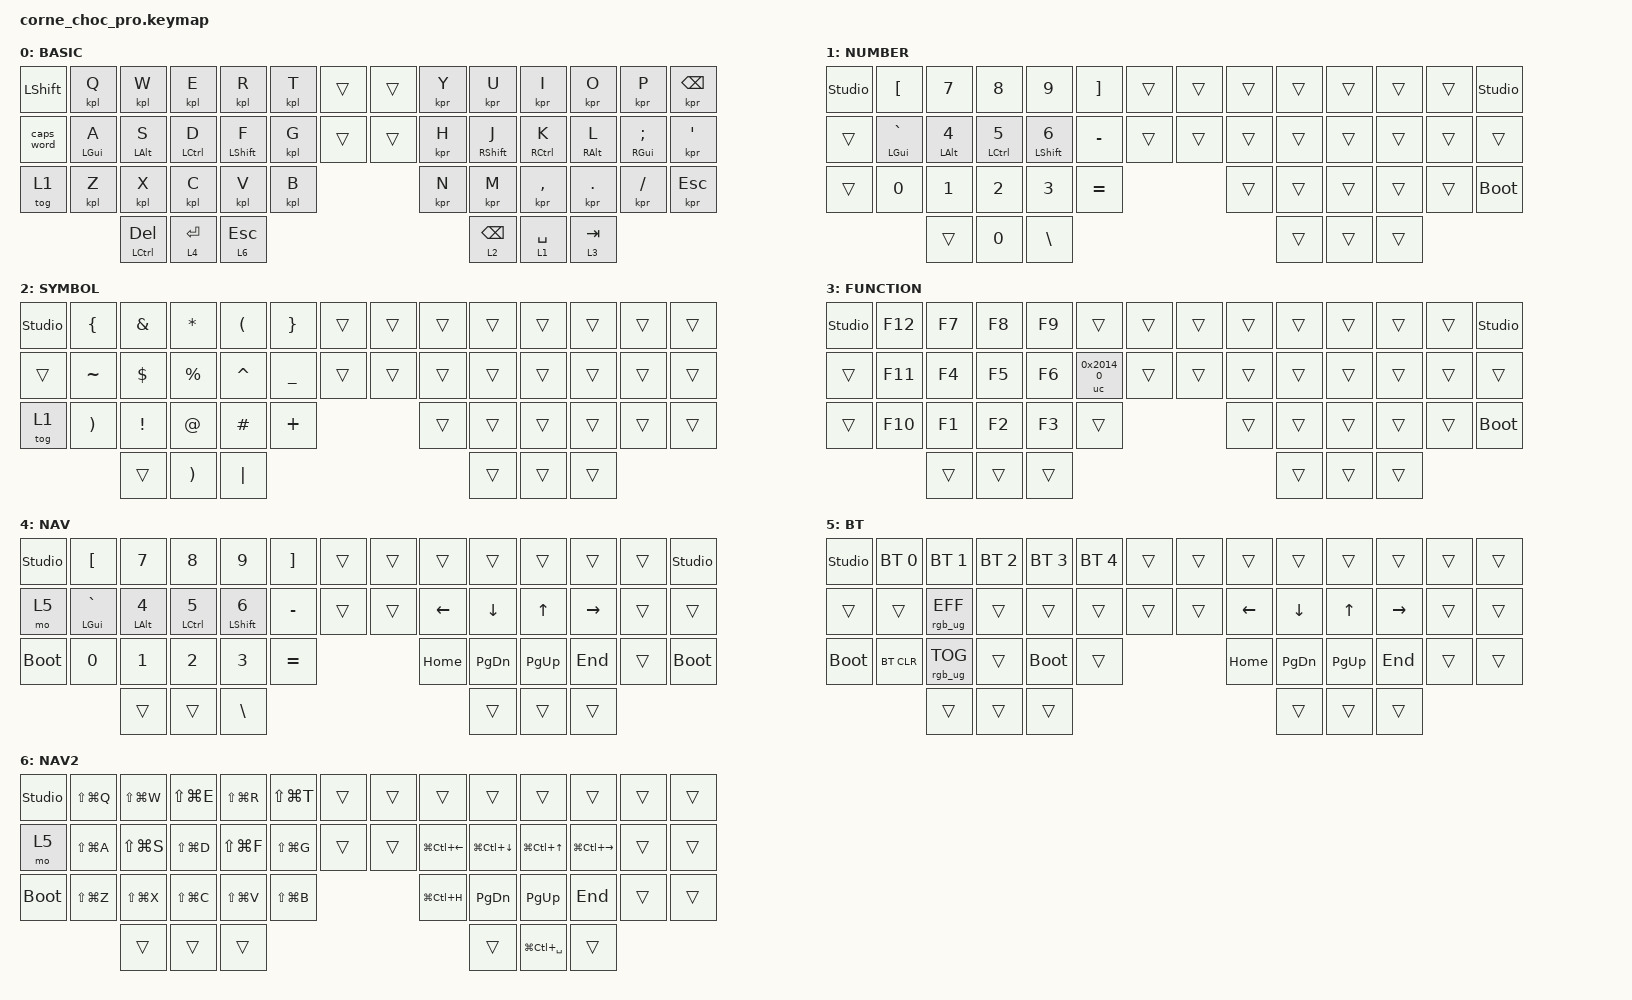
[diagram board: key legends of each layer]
/*
 * Copyright (c) 2020 The ZMK Contributors
 *
 * SPDX-License-Identifier: MIT
 */

#include <behaviors.dtsi>
#include <dt-bindings/zmk/keys.h>
#include <dt-bindings/zmk/bt.h>
#include <dt-bindings/zmk/rgb.h>
#include <dt-bindings/zmk/behaviors.h>
#include <behaviors/unicode.dtsi>

&uc {
  default-mode = <UC_MODE_WIN_COMPOSE>;  // Replace with desired input system.
};

/ {
    chosen {
        zmk,physical-layout = &default_layout;
    };
};


/ {
        behaviors {
            hml: home_row_mod_left_shift {
                compatible = "zmk,behavior-hold-tap";
                #binding-cells = <2>;
                flavor = "hold-preferred";
                tapping-term-ms = <200>;
                quick-tap-ms = <150>;
                bindings = <&kp>, <&kp>;
                hold-trigger-key-positions = <7 8 9 10 11 12 13 21 22 23 24 25 26 27 35 34 36 37 38 39 41 40 42 43 44 45>; // List of keys on the right side of the keyboard
                hold-trigger-on-release;
            };
            hrl: home_row_mod_left {
                compatible = "zmk,behavior-hold-tap";
                #binding-cells = <2>;
                flavor = "balanced";
                tapping-term-ms = <150>;
                quick-tap-ms = <150>;
                bindings = <&kp>, <&kp>;
                hold-trigger-key-positions = <7 8 9 10 11 12 13 21 22 23 24 25 26 27 35 34 36 37 38 39>; // List of keys on the right side of the keyboard
                hold-trigger-on-release;
            };
            hmr: home_row_mod_right_shift {
                compatible = "zmk,behavior-hold-tap";
                #binding-cells = <2>;
                flavor = "hold-preferred";
                tapping-term-ms = <200>;
                quick-tap-ms = <150>;
                bindings = <&kp>, <&kp>;
                hold-trigger-key-positions = <0 1 2 3 4 5 6 14 15 16 17 20 19 18 28 29 33 30 31 32 41 40 42 43 44 45>; // List of keys on the left side of the keyboard
                hold-trigger-on-release;
            };
            hrr: home_row_mod_right {
                compatible = "zmk,behavior-hold-tap";
                #binding-cells = <2>;
                flavor = "balanced";
                tapping-term-ms = <150>;
                quick-tap-ms = <150>;
                bindings = <&kp>, <&kp>;
                hold-trigger-key-positions = <0 1 2 3 4 5 6 14 15 16 17 20 19 18 28 29 33 30 31 32 41 40 42 43 44 45>; // List of keys on the left side of the keyboard
                hold-trigger-on-release;
            };
            ltl: layer_tap_left {
                compatible = "zmk,behavior-hold-tap";
                #binding-cells = <2>;
                flavor = "balanced";
                tapping-term-ms = <150>;
                quick-tap-ms = <150>;
                bindings = <&mo>, <&kpl>;
                hold-trigger-key-positions = <7 8 9 10 11 12 13 21 22 23 24 25 26 27 35 34 36 37 38 39 43 44 45>; // List of keys on the right side of the keyboard
                hold-trigger-on-release;
            };
            ltr: layer_tap_right {
                compatible = "zmk,behavior-hold-tap";
                #binding-cells = <2>;
                flavor = "balanced";
                tapping-term-ms = <150>;
                quick-tap-ms = <150>;
                bindings = <&mo>, <&kp>;
                hold-trigger-key-positions = <0 1 2 3 4 5 6 14 15 16 17 20 19 18 28 29 33 30 31 32 41 40 42>; // List of keys on the left side of the keyboard
                hold-trigger-on-release;
            };
            lts: layer_tap_space {
                compatible = "zmk,behavior-hold-tap";
                #binding-cells = <2>;
                flavor = "balanced";
                tapping-term-ms = <100>;
                bindings = <&mo>, <&kp>;
                hold-trigger-key-positions = <0 1 2 3 4 5 6 14 15 16 17 20 19 18 28 29 33 30 31 32 41 40 42>; // List of keys on the left side of the keyboard
                hold-trigger-on-release;
            };
            kpl: kpl {
                compatible = "zmk,behavior-macro-one-param";
                wait-ms = <0>;
                tap-ms = <0>;
                #binding-cells = <1>;
                bindings
                    = <&macro_release &kp LSHFT>
                    , <&macro_param_1to1>
                    , <&macro_press &kp MACRO_PLACEHOLDER>
                    , <&macro_pause_for_release>
                    , <&macro_param_1to1>
                    , <&macro_release &kp MACRO_PLACEHOLDER>
                    ;
            };
            kpr: kpr {
                compatible = "zmk,behavior-macro-one-param";
                wait-ms = <0>;
                tap-ms = <0>;
                #binding-cells = <1>;
                bindings
                    = <&macro_release &kp RSHFT>
                    , <&macro_param_1to1>
                    , <&macro_press &kp MACRO_PLACEHOLDER>
                    , <&macro_pause_for_release>
                    , <&macro_param_1to1>
                    , <&macro_release &kp MACRO_PLACEHOLDER>
                    ;
            };
        };
        keymap {
                compatible = "zmk,keymap";

                default_layer {
                        display-name = "BASIC";
                        bindings = <
&kp LSHIFT    &kpl Q        &kpl W        &kpl E        &kpl R        &kpl T     &trans  &trans  &kpr Y     &kpr U        &kpr I        &kpr O        &kpr P         &kpr BSPC
&caps_word    &hrl LGUI A   &hrl LALT S   &hrl LCTL D   &hml LSHFT F  &kpl G     &trans  &trans  &kpr H     &hmr RSHFT J  &hrr RCTL K   &hrr RALT L   &hrr RGUI SEMI &kpr SQT
&tog 1        &kpl Z        &kpl X        &kpl C        &kpl V        &kpl B                     &kpr N     &kpr M        &kpr COMMA    &kpr DOT      &kpr FSLH      &kpr ESC
                            &mt LCTRL DEL &ltl 4 RET    &lt 6 ESC                                           &ltr 2 BSPC   &lts 1 SPC    &ltr 3 TAB    
                        >;
                };
                num_layer {
                        display-name = "NUMBER";
                        bindings = <
&studio_unlock &kp LBKT        &kp N7        &kp N8        &kp N9         &kp RBKT  &trans  &trans  &trans  &trans  &trans  &trans  &trans  &studio_unlock
&trans         &hrl LGUI GRAVE &hrl LALT N4  &hrl LCTL N5  &hrl LSHIFT N6 &kp MINUS &trans  &trans  &trans  &trans  &trans  &trans  &trans  &trans        
&trans         &kp N0          &kp N1        &kp N2        &kp N3         &kp EQUAL                 &trans  &trans  &trans  &trans  &trans  &bootloader   
                               &trans        &kp N0        &kp BSLH                                         &trans  &trans  &trans        
                        >;
                };
                sym_layer {
                        display-name = "SYMBOL";
                        bindings = <
&studio_unlock &kp LBRC        &kp AMPS      &kp ASTRK     &kp LPAR       &kp RBRC  &trans  &trans  &trans  &trans  &trans  &trans  &trans  &trans
&trans         &kp TILDE       &kp DLLR      &kp PRCNT     &kp CARET      &kp UNDER &trans  &trans  &trans  &trans  &trans  &trans  &trans  &trans        
&tog 1         &kp RPAR        &kp EXCL      &kp AT        &kp HASH       &kp PLUS                  &trans  &trans  &trans  &trans  &trans  &trans   
                               &trans        &kp RPAR      &kp PIPE                                         &trans  &trans  &trans        
                        >;
                };
                fn_layer {
                        display-name = "FUNCTION";
                        bindings = <
&studio_unlock &kp F12         &kp F7        &kp F8        &kp F9       &trans       &trans  &trans  &trans  &trans  &trans  &trans  &trans  &studio_unlock
&trans         &kp F11         &kp F4        &kp F5        &kp F6       &uc 0x2014 0 &trans  &trans  &trans  &trans  &trans  &trans  &trans  &trans        
&trans         &kp F10         &kp F1        &kp F2        &kp F3       &trans                       &trans  &trans  &trans  &trans  &trans  &bootloader   
                               &trans        &trans        &trans                                            &trans  &trans  &trans        
                        >;
                };
                nav_layer {
                        display-name = "NAV";
                        bindings = <
&studio_unlock &kp LBKT        &kp N7        &kp N8        &kp N9         &kp RBKT  &trans  &trans  &trans    &trans    &trans    &trans    &trans  &studio_unlock
&mo 5          &hrl LGUI GRAVE &hrl LALT N4  &hrl LCTL N5  &hrl LSHIFT N6 &kp MINUS &trans  &trans  &kp LEFT  &kp DOWN  &kp UP    &kp RIGHT &trans  &trans        
&bootloader    &kp N0          &kp N1        &kp N2        &kp N3         &kp EQUAL                 &kp HOME  &kp PG_DN &kp PG_UP &kp END   &trans  &bootloader   
                               &trans        &trans        &kp BSLH                                           &trans    &trans    &trans        
                        >;
                };
                bt_layer {
                        display-name = "BT";
                        bindings = <
&studio_unlock &bt BT_SEL 0    &bt BT_SEL 1    &bt BT_SEL 2 &bt BT_SEL 3 &bt BT_SEL 4 &trans  &trans  &trans    &trans    &trans    &trans    &trans &trans
&trans         &trans          &rgb_ug RGB_EFF &trans       &trans       &trans       &trans  &trans  &kp LEFT  &kp DOWN  &kp UP    &kp RIGHT &trans &trans
&bootloader    &bt BT_CLR      &rgb_ug RGB_TOG &trans       &bootloader  &trans                       &kp HOME  &kp PG_DN &kp PG_UP &kp END   &trans &trans
                               &trans          &trans       &trans                                              &trans    &trans    &trans      
                        >;
                };
                nav_layer_two {
                        display-name = "NAV2";
                        bindings = <
&studio_unlock &kp LS(LG(Q))  &kp LS(LG(W))  &kp LS(LG(E))  &kp LS(LG(R))  &kp LS(LG(T))  &trans  &trans  &trans           &trans           &trans          &trans            &trans  &trans        
&mo 5          &kp LS(LG(A))  &kp LS(LG(S))  &kp LS(LG(D))  &kp LS(LG(F))  &kp LS(LG(G))  &trans  &trans  &kp LG(LC(LEFT)) &kp LG(LC(DOWN)) &kp LG(LC(UP))  &kp LG(LC(RIGHT)) &trans  &trans        
&bootloader    &kp LS(LG(Z))  &kp LS(LG(X))  &kp LS(LG(C))  &kp LS(LG(V))  &kp LS(LG(B))                  &kp LG(LC(H))    &kp PG_DN        &kp PG_UP       &kp END           &trans  &trans        
                              &trans         &trans         &trans                                                         &trans           &kp LG(LC(SPC)) &trans         
                        >;
                };
        };
};

